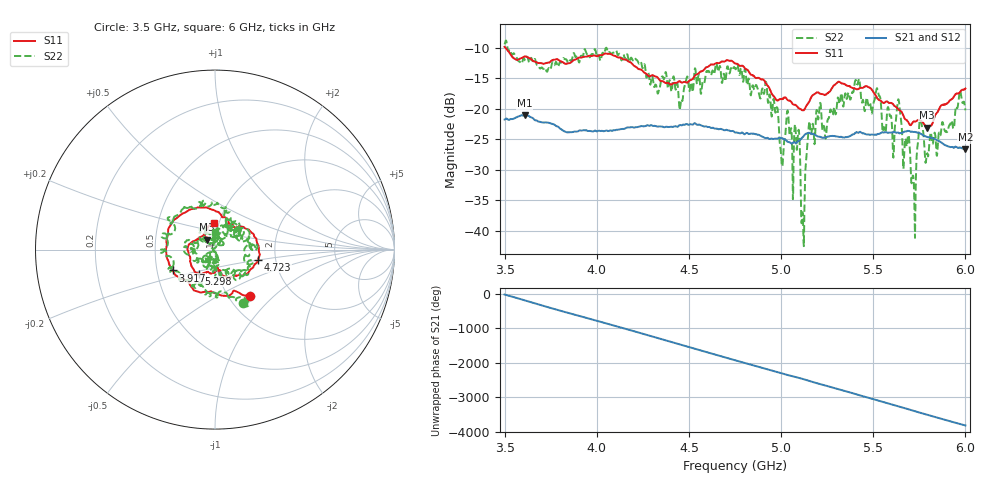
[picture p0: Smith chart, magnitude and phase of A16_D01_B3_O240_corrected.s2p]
! Created with skrf 1.9.0 (http://scikit-rf.org).
# Hz S RI R 50.0
!freq ReS11 ImS11 ReS21 ImS21 ReS12 ImS12 ReS22 ImS22
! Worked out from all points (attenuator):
!   1601 points, 3.5 GHz to 6 GHz, reference 50 ohm
!   highest |S21| = -21.05 dB at 3.609 GHz (marker M1); lowest = -26.6 dB at 6 GHz (marker M2)
!   lowest |S11| = -23.1 dB at 5.791 GHz (marker M3), VSWR 1.15, Z = 45.6 + j5.08 ohm
!   |S11| at or under -10 dB: 3.505 GHz to end of sweep
!   |S22| runs from -42.5 to -8.8 dB; largest |S21 - S12| = 0.0013
!   S11 on the Smith chart (normalised r, x): 3.5 GHz: 1.25, -0.72; 3.917 GHz: 0.60, -0.15; 4.723 GHz: 1.62, -0.19; 5.298 GHz: 0.81, -0.22; 6 GHz: 0.95, +0.28
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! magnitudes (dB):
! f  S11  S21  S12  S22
! 3.5 GHz  -9.8  -21.8  -21.8  -9.4
! 3.609 GHz  -11.4  -21.0  -21.1  -12.0
! 3.917 GHz  -11.6  -23.6  -23.6  -11.3
! 4.334 GHz  -15.0  -22.9  -22.9  -17.3
! 4.723 GHz  -12.1  -23.6  -23.6  -13.9
! 4.75 GHz  -12.6  -23.9  -23.8  -13.4
! 4.969 GHz  -18.3  -24.9  -24.9  -20.6
! 5.003 GHz  -18.4  -24.8  -24.8  -29.0
! 5.031 GHz  -18.4  -25.3  -25.2  -20.8
! 5.086 GHz  -19.6  -25.5  -25.5  -26.7
! 5.117 GHz  -20.3  -24.7  -24.6  -37.0
! 5.145 GHz  -19.2  -24.0  -24.0  -24.8
! 5.167 GHz  -17.9  -24.1  -24.0  -23.4
! 5.298 GHz  -15.9  -24.5  -24.5  -20.7
! 5.414 GHz  -16.8  -23.9  -23.9  -15.9
! 5.584 GHz  -19.0  -23.9  -23.9  -20.1
! 5.612 GHz  -19.4  -23.8  -23.7  -26.2
! 5.641 GHz  -20.2  -24.0  -24.0  -19.0
! 5.717 GHz  -22.1  -23.8  -23.7  -31.0
! 5.756 GHz  -21.9  -24.1  -24.0  -21.8
! 5.791 GHz  -23.1  -24.6  -24.6  -27.5
! 6 GHz  -16.7  -26.6  -26.6  -20.2
